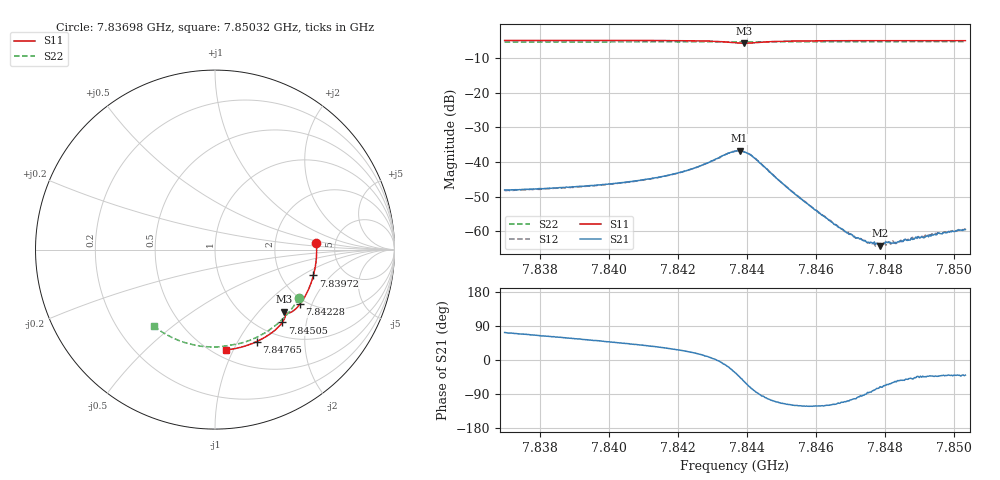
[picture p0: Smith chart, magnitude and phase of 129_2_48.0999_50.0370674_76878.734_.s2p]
#  HZ  S  RI  R  50.00
! Rohde & Schwarz Vector Network Analyzer
! Rohde-Schwarz,ZNB20-2Port,1311601062101988,3.16
! Created: UTC 12/23/2023, 3:47:34 AM
! freq[Hz]  re:S11  im:S11  re:S21  im:S21  re:S12  im:S12  re:S22  im:S22
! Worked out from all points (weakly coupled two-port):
!   401 points, 7.83698 GHz to 7.85032 GHz, reference 50 ohm
!   highest |S21| = -36.67 dB at 7.84378 GHz (marker M1); lowest = -64.1 dB at 7.84785 GHz (marker M2)
!   lowest |S11| = -5.7 dB at 7.84392 GHz (marker M3), VSWR 3.14, Z = 73.5 - j69.3 ohm
!   |S11| at or under -10 dB: nowhere
!   |S22| runs from -5.4 to -5.3 dB; largest |S21 - S12| = 0.00033
!   S11 on the Smith chart (normalised r, x): 7.83698 GHz: 3.56, +0.39; 7.83972 GHz: 3.02, -1.28; 7.84228 GHz: 1.84, -1.64; 7.84505 GHz: 1.25, -1.46; 7.84765 GHz: 0.80, -1.20; 7.85032 GHz: 0.57, -0.93
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7.83698e9  0.5649 0.0368  0.00119 0.00378  0.0012 0.00368  0.4678 -0.2689
7.839215e9  0.5559 -0.1112  0.0026 0.00365  0.00256 0.0036  0.3718 -0.3921
7.839715e9  0.5483 -0.1441  0.00298 0.00362  0.00295 0.00358  0.3458 -0.4156
7.84145e9  0.5051 -0.2542  0.00504 0.00338  0.005 0.0034  0.2445 -0.4829
7.842284e9  0.4728 -0.3047  0.00707 0.00291  0.00702 0.00291  0.1908 -0.5065
7.843151e9  0.423 -0.3493  0.0114 -0.000288  0.0114 -0.000288  0.1324 -0.5241
7.843651e9  0.3882 -0.3524  0.0121 -0.00784  0.012 -0.00772  0.0989 -0.5301
7.843785e9  0.384 -0.3489  0.0105 -0.0103  0.0104 -0.0103  0.0903 -0.5314
7.843918e9  0.3842 -0.3458  0.00761 -0.0117  0.00769 -0.0118  0.0821 -0.5327
7.844052e9  0.387 -0.3462  0.00474 -0.0123  0.00486 -0.0122  0.0736 -0.5344
7.844218e9  0.3911 -0.3519  0.00171 -0.0113  0.00166 -0.0113  0.0627 -0.5366
7.845052e9  0.3752 -0.406  -0.00204 -0.00437  -0.00202 -0.00437  0.00455 -0.5425
7.845886e9  0.3339 -0.4494  -0.00118 -0.00186  -0.00119 -0.00189  -0.0543 -0.5407
7.846887e9  0.2773 -0.4891  -0.000313 -0.000903  -0.000336 -0.000949  -0.1238 -0.53
7.847187e9  0.2596 -0.4991  -0.000128 -0.000801  -0.000127 -0.000805  -0.1442 -0.5251
7.847487e9  0.2415 -0.5083  5.27e-05 -0.000693  2.48e-05 -0.000679  -0.1643 -0.5192
7.847654e9  0.2314 -0.5131  0.000112 -0.000665  8.14e-05 -0.000674  -0.1757 -0.5155
7.847854e9  0.2191 -0.5185  0.00021 -0.000589  0.000176 -0.000651  -0.1891 -0.5111
7.848121e9  0.2025 -0.5253  0.00032 -0.000621  0.000319 -0.00062  -0.2064 -0.5044
7.848254e9  0.1941 -0.5285  0.00036 -0.000581  0.000358 -0.000598  -0.2151 -0.5009
7.848955e9  0.1495 -0.5427  0.000611 -0.000578  0.000602 -0.000596  -0.2595 -0.4797
7.850322e9  0.0601 -0.5591  0.000818 -0.000684  0.000832 -0.000727  -0.3398 -0.4276
